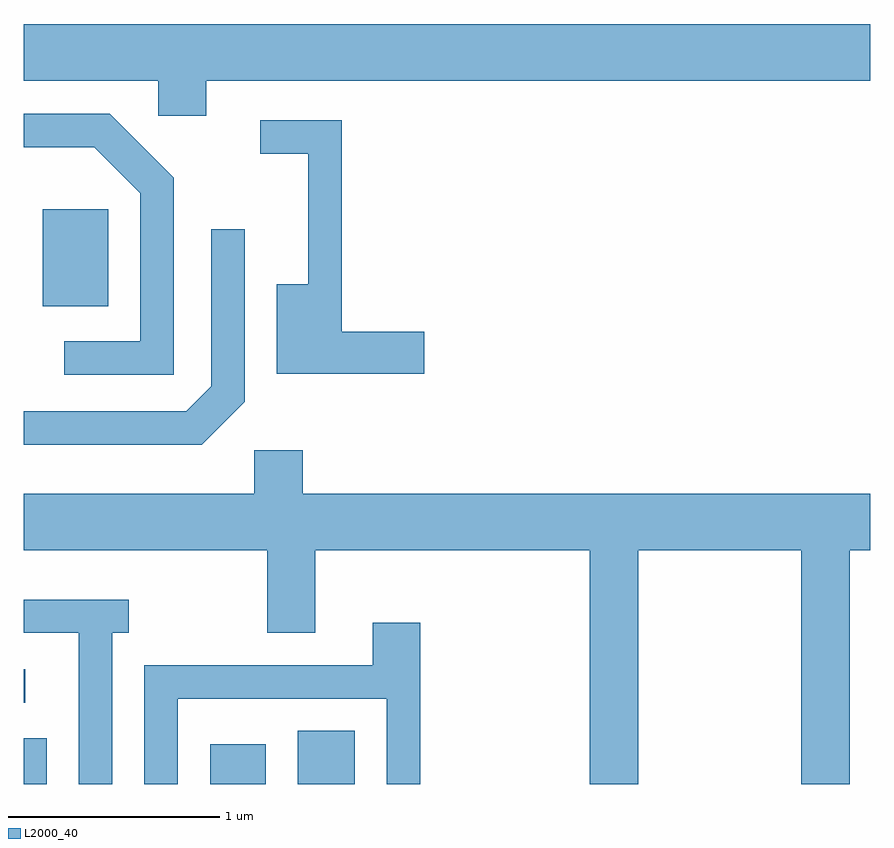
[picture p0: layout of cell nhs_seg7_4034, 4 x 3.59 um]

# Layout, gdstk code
import gdstk
lib = gdstk.Library(unit=1e-6, precision=1e-09)
def R(c, l, rs):  # rectangles x0, y0, x1, y1
    for r in rs: c.add(gdstk.rectangle(r[:2], r[2:], *l))
def P(c, l, *ps):  # polygons
    for p in ps: c.add(gdstk.Polygon(p, *l))
L2000_40 = (2000, 40)

nhs_seg7_4034 = lib.new_cell('nhs_seg7_4034')
R(nhs_seg7_4034, L2000_40, [(307.611,1784.252,307.719,1784.469), (308.491,1784.252,308.754,1784.439), (308.906,1784.252,309.174,1784.504), (307.611,1784.636,307.618,1784.794), (307.701,1786.511,308.009,1786.969)])
P(nhs_seg7_4034, L2000_40, [(308.474,1787.576),(311.611,1787.576),(311.611,1787.844),(307.611,1787.844),(307.611,1787.576),(308.246,1787.576),(308.246,1787.411),(308.474,1787.411)],
  [(308.319,1787.117),(308.017,1787.419),(307.611,1787.419),(307.611,1787.261),(307.944,1787.261),(308.161,1787.044),(308.161,1786.344),(307.803,1786.344),(307.803,1786.186),(308.319,1786.186)],
  [(309.504,1786.389),(309.114,1786.389),(309.114,1787.389),(308.728,1787.389),(308.728,1787.231),(308.956,1787.231),(308.956,1786.614),(308.806,1786.614),(308.806,1786.191),(309.504,1786.191)],
  [(308.654,1786.059),(308.654,1786.873),(308.496,1786.873),(308.496,1786.132),(308.379,1786.014),(307.611,1786.014),(307.611,1785.856),(308.452,1785.856)],
  [(310.514,1785.356),(311.286,1785.356),(311.286,1784.252),(311.514,1784.252),(311.514,1785.356),(311.611,1785.356),(311.611,1785.624),(308.929,1785.624),(308.929,1785.829),(308.701,1785.829),(308.701,1785.624),(307.611,1785.624),(307.611,1785.356),(308.761,1785.356),(308.761,1784.966),(308.989,1784.966),(308.989,1785.356),(310.286,1785.356),(310.286,1784.252),(310.514,1784.252)],
  [(308.029,1784.966),(308.108,1784.966),(308.108,1785.124),(307.611,1785.124),(307.611,1784.966),(307.871,1784.966),(307.871,1784.252),(308.029,1784.252)],
  [(308.339,1784.656),(309.326,1784.656),(309.326,1784.252),(309.484,1784.252),(309.484,1785.014),(309.261,1785.014),(309.261,1784.814),(308.181,1784.814),(308.181,1784.252),(308.339,1784.252)])

lib.write_gds('nhs_seg7_4034.gds')
